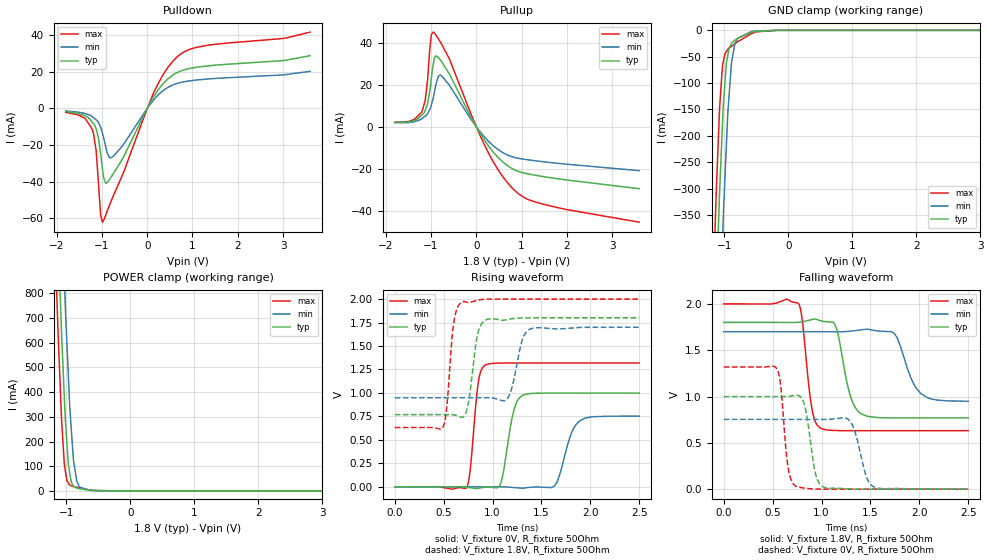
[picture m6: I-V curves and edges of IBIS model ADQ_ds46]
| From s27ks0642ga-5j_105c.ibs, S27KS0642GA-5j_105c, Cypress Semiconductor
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[Model]   ADQ_ds46
Model_type   I/O
Polarity   Non-Inverting
Enable   Active-High
Vinl = 0.54
Vinh = 1.26
Vmeas = 0.9
Vref = 0.9
Cref = 15pF
|   typ   min   max
C_comp   1.03pF   1.01pF   1.05pF
[Voltage Range]   1.8   1.7   2
[Temperature Range]   25   105   -40
[Pullup Reference]   1.8   1.7   2
[Pulldown Reference]   0   0   0
[Power Clamp Reference]   1.8   1.7   2
[GND Clamp Reference]   0   0   0
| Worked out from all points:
|   slope of the pulldown table from 0 to 0.27 V, typ, clamps not added: 24.6 ohm
|   slope of the pullup table from 0 to 0.27 V, typ, clamps not added: 29.6 ohm
|   falling waveform, V_fixture 1.8V, R_fixture 50Ohm: 20-80 % time 121ps typ, 159ps min, 82.8ps max; typ from 1.8 V to 0.769 V
|   rising waveform, V_fixture 0V, R_fixture 50Ohm: 20-80 % time 96.1ps typ, 128ps min, 67.4ps max; typ from 0 V to 0.999 V
|   rising waveform, V_fixture 1.8V, R_fixture 50Ohm: 20-80 % time 75.6ps typ, 91.3ps min, 63.6ps max; typ from 0.769 V to 1.8 V
|   falling waveform, V_fixture 0V, R_fixture 50Ohm: 20-80 % time 84.1ps typ, 107ps min, 65.5ps max; typ from 0.999 V to 0 V
[Pulldown]
|   Voltage   I(typ)   I(min)   I(max)
-1.8V     -1.769mA   -1.401mA   -2.199mA
-1.372V   -4.072mA   -2.815mA   -5.482mA
-1.212V   -7.594mA   -4.564mA   -11.52mA
-1.128V   -11.23mA   -6.31mA    -23.14mA
-1.03V    -24.78mA   -10.23mA   -58.09mA
-990mV    -32.86mA   -13.39mA   -62.06mA
-912.6mV  -40.86mA   -21.45mA   -57.98mA
-784mV    -36.93mA   -26.71mA   -49.75mA
184mV     7.872mA    5.774mA    10.7mA
660mV     19.5mA     13.59mA    28.03mA
1.118V    22.49mA    15.52mA    33.4mA
3.6V      28.73mA    20.19mA    41.58mA
[GND Clamp]
|   Voltage   I(typ)   I(min)   I(max)
-1.8V     -3.484A    -3.741A    -3.305A
-1.185V   -724mA     -996.9mA   -524.4mA
-1.134V   -519mA     -790.8mA   -332.6mA
-1.096V   -382.7mA   -636.8mA   -212.7mA
-1.074V   -304.9mA   -553.3mA   -145.4mA
-1.03V    -177.8mA   -399.5mA   -68.36mA
-1.019V   -146.2mA   -361.1mA   -61.52mA
-968.4mV  -61.86mA   -216.9mA   -40.2mA
-888.8mV  -24.7mA    -61.65mA   -30.07mA
-794mV    -15.34mA   -15.01mA   -21.72mA
-178.2mV  -125.1nA   -318.5nA   -2.837uA
3.6V      0A         0A         0A
[Pullup]
|   Voltage   I(typ)   I(min)   I(max)
-1.8V     2.031mA    1.95mA     2.08mA
-1.188V   5.804mA    4.117mA    7.85mA
-1.128V   7.692mA    5.077mA    12.5mA
-1.076V   10.88mA    6.149mA    21.85mA
-992mV    22.96mA    10.37mA    43.76mA
-946mV    30.1mA     13.95mA    44.97mA
-837.8mV  32.88mA    23.96mA    41.81mA
-763.2mV  30.86mA    24.16mA    39.17mA
251.9mV   -8.578mA   -6.523mA   -11.64mA
872mV     -20.74mA   -14.74mA   -30.72mA
1.55V     -23.91mA   -16.8mA    -37.17mA
3.6V      -29.43mA   -20.85mA   -45.35mA
[POWER Clamp]
|   Voltage   I(typ)   I(min)   I(max)
-1.8V     6.849A     7.358A     6.488A
-1.161V   1.28A      1.843A     885.1mA
-1.134V   1.069A     1.626A     679.6mA
-1.096V   794.4mA    1.322A     429.3mA
-1.074V   636.9mA    1.155A     287.5mA
-1.019V   303mA      766.6mA    86.06mA
-968.4mV  108.3mA    465.8mA    32.12mA
-946mV    72.2mA     338mA      23.6mA
-888.8mV  19.56mA    124.4mA    17.81mA
-836.1mV  11.45mA    38.11mA    14.41mA
-628.7mV  2.676mA    2.014mA    3.959mA
3.6V      0A         0A         0A
[Ramp]
R_load = 50
|   typ   min   max
dV/dt_r 5.9945E-01/9.5996E-11   4.5183E-01/1.2709E-10   7.9131E-01/6.7322E-11
dV/dt_f 6.1883E-01/1.2137E-10   4.5055E-01/1.5864E-10   8.2126E-01/8.2569E-11
[Falling Waveform]
V_fixture = 1.8V
V_fixture_min = 1.7V
V_fixture_max = 2V
R_fixture = 50Ohm
C_fixture = 0F
|   Time   V(typ)   V(min)   V(max)
0s        1.8V       1.7V       2V
765ps     1.802V     1.7V       2.003V
900ps     1.83V      1.7V       878.3mV
990ps     1.818V     1.7V       659mV
1.14ns    1.77V      1.699V     633.2mV
1.28ns    1.062V     1.704V     631.5mV
1.4ns     817.2mV    1.719V     631.3mV
1.745ns   769.2mV    1.679V     631.2mV
2.015ns   768.6mV    1.033V     631.2mV
2.5ns     768.6mV    949.1mV    631.2mV
[Rising Waveform]
V_fixture = 0V
V_fixture_min = 0V
V_fixture_max = 0V
R_fixture = 50Ohm
C_fixture = 0F
|   Time   V(typ)   V(min)   V(max)
0s        0V         0V         0V
735ps     -5.556mV   0V         -10.17mV
855ps     -16.47mV   -3.891uV   1.116V
935ps     -4.267mV   -21.93uV   1.302V
1.08ns    28.77mV    557.4uV    1.318V
1.215ns   802.5mV    -7.59mV    1.319V
1.3ns     969.5mV    -14.75mV   1.319V
1.63ns    998.7mV    5.659mV    1.319V
1.895ns   999mV      704.2mV    1.319V
2.5ns     999.1mV    753.1mV    1.319V
[Rising Waveform]
V_fixture = 1.8V
V_fixture_min = 1.7V
V_fixture_max = 2V
R_fixture = 50Ohm
C_fixture = 0F
|   Time   V(typ)   V(min)   V(max)
0s        768.6mV    948.5mV    631.2mV
495ps     768.6mV    948.5mV    637.8mV
530ps     768.9mV    948.5mV    828.6mV
605ps     766.4mV    948.5mV    1.76V
690ps     740.8mV    948.5mV    1.969V
850ps     1.637V     948.5mV    1.989V
915ps     1.768V     948.9mV    1.998V
1.16ns    1.783V     950.5mV    2V
1.38ns    1.8V       1.678V     2V
2.5ns     1.8V       1.7V       2V
[Falling Waveform]
|Gnd
V_fixture = 0V
V_fixture_min = 0V
V_fixture_max = 0V
R_fixture = 50Ohm
C_fixture = 0F
|   Time   V(typ)   V(min)   V(max)
0s        999.1mV    753.2mV    1.319V
545ps     999.1mV    753.2mV    1.297V
655ps     999.9mV    753.2mV    251mV
735ps     1.013V     753.2mV    31.34mV
825ps     911.5mV    753.2mV    11.2mV
925ps     232.8mV    753.2mV    2.073mV
1.005ns   32.15mV    753.2mV    472.9uV
1.3ns     2.279mV    722.9mV    2.572uV
1.53ns    82.7uV     26.46mV    -563.8nV
2.5ns     0V         3.55uV     0V
